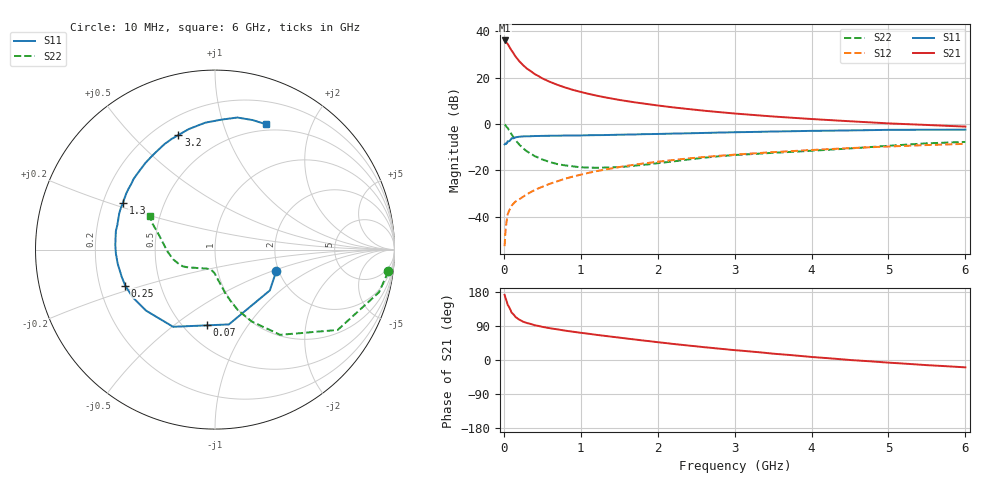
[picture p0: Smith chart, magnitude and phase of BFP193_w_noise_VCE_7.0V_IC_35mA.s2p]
! Infineon Technologies  Discrete & RF Semiconductors
! BFP193
! VCE =  7.0 V,  IC =  35 mA
! Common Emitter S-Parameters:  Jan 2017
# GHz  S  MA  R  50
!  f  S11  S21  S12  S22
! GHz  MAG  ANG  MAG  ANG  MAG  ANG  MAG  ANG
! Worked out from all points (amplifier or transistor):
!   77 points, 10 MHz to 6 GHz, reference 50 ohm
!   highest |S21| = 36.0 dB at 10 MHz (marker M1)
!   |S21| within 3 dB of that: start of sweep to 76.3 MHz
!   unconditionally stable (mu >= 1): 680.6 MHz to 2.442 GHz
!   at 130 MHz: K = 0.51, MSG = 32.3 dB, |S12| = -34.2 dB
!   at 2.2 GHz: K = 1.01, MAG = 10.7 dB, |S12| = -15.6 dB
!   at 6 GHz: K = 0.91, MSG = 3.7 dB, |S12| = -8.6 dB
!   lowest NFmin = 1.29 dB at 450 MHz
!   S11 on the Smith chart (normalised r, x): 10 MHz: 1.95, -0.52; 70 MHz: 0.64, -0.66; 250 MHz: 0.31, -0.18; 1.3 GHz: 0.28, +0.22; 3.2 GHz: 0.30, +0.69; 6 GHz: 0.43, +1.40
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0.01  0.3619 -18.8  63.41 171.9  0.0023 90.0  0.973 -7.2
0.02  0.3809 -36.7  62.26 164.7  0.0045 84.1  0.9442 -14.6
0.05  0.424 -79.5  53.28 145.6  0.0112 65.8  0.8172 -33.2
0.07  0.4248 -96.4  46.78 139.0  0.0135 62.4  0.7202 -39.5
0.1  0.4893 -118.5  38.66 125.3  0.0171 59.1  0.5976 -52.6
0.15  0.5128 -138.4  28.82 113.8  0.021 56.4  0.4501 -62.9
0.2  0.5297 -149.8  22.68 106.6  0.0236 58.3  0.36 -69.3
0.25  0.5387 -158.1  18.58 101.2  0.0268 57.1  0.2992 -73.1
0.3  0.5414 -163.5  15.67 97.6  0.0303 59.9  0.2558 -76.3
0.4  0.5479 -171.8  11.98 91.8  0.0374 62.2  0.2024 -80.4
0.5  0.5527 -177.8  9.639 87.5  0.044 64.0  0.1709 -84.0
0.6  0.5561 177.3  8.09 83.8  0.0513 65.3  0.15 -87.5
0.7  0.5578 173.2  6.948 80.7  0.0581 65.4  0.1353 -90.0
0.9  0.5612 165.8  5.421 74.6  0.0732 65.2  0.1214 -96.2
1.1  0.5705 159.3  4.469 69.3  0.088 64.6  0.1146 -102.4
1.3  0.5754 153.0  3.795 64.0  0.1022 62.8  0.1142 -109.5
2.1  0.6133 131.1  2.39 44.8  0.1594 54.5  0.1484 -136.7
3.1  0.6658 109.5  1.631 24.4  0.2229 42.5  0.2178 -158.9
3.2  0.6701 107.7  1.583 22.6  0.2286 41.3  0.2226 -161.0
4.1  0.7116 92.9  1.249 6.5  0.2792 31.0  0.2698 -179.8
5.1  0.7466 79.1  1.012 -8.2  0.3309 19.7  0.346 161.4
6  0.7538 67.9  0.877 -19.4  0.372 9.7  0.4094 152.5
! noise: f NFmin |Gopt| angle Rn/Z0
0.45  1.29  0.37  -172  0.08
0.9  1.35  0.4  -169  0.08
1.9  1.95  0.58  -135  0.18
2.4  2.29  0.62  -120  0.4
